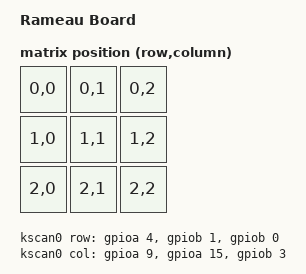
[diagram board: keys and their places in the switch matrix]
/dts-v1/;
#include <st/u0/stm32u073Xc.dtsi>
#include <st/u0/stm32u073cctx-pinctrl.dtsi>
#include <dt-bindings/zmk/matrix_transform.h>

/ {
    model = "Rameau Board";
    compatible = "GK,rameau";

    chosen {
        zephyr,sram = &sram0;
        zephyr,flash = &flash0;
        zmk,kscan = &kscan0;
        zmk,matrix_transform = &default_transform;
        zmk,hall-effect = &hall_effect_config;
        zephyr,console = &usart2;
        zephyr,shell-uart = &usart2;
        zephyr,bt-hci = &bt_hci_uart;
        zephyr,bt-uart = &lpuart3;
    };

    default_transform: keymap_transform_0 {
        compatible = "zmk,matrix-transform";
        columns = <3>;
        rows = <3>;
        map = <
        RC(0,0) RC(0,1) RC(0,2)
        RC(1,0) RC(1,1) RC(1,2)
        RC(2,0) RC(2,1) RC(2,2)
        >;
    };

    kscan0: kscan {
        compatible = "zmk,kscan-gpio-matrix";
        label = "KSCAN";
        diode-direction = "col2row";

        row-gpios
        = <&gpioa 4 (GPIO_ACTIVE_HIGH | GPIO_PULL_DOWN)>  // Row 1 (ADC1_IN8)
        , <&gpiob 1 (GPIO_ACTIVE_HIGH | GPIO_PULL_DOWN)>  // Row 2 (ADC1_IN18)
        , <&gpiob 0 (GPIO_ACTIVE_HIGH | GPIO_PULL_DOWN)>  // Row 3 (ADC1_IN17)
        ;

        col-gpios
        = <&gpioa 9 GPIO_ACTIVE_HIGH>   // Col 1
        , <&gpioa 15 GPIO_ACTIVE_HIGH>  // Col 2
        , <&gpiob 3 GPIO_ACTIVE_HIGH>   // Col 3
        ;
    };

    hall_effect_config: hall_effect {
        compatible = "gk,hall-effect";
        matrix = <&kscan0>;
        startup-time-us = <50>;
        discovery-sample-rate-hz = <100>;
        
        // Map sense pins to ADC channels - sparse array matching matrix indices
        io-channels = <&adc1 8>, <&adc1 18>, <&adc1 17>;
        
        // Pinctrl states: pinctrl-0 is default, pinctrl-N is for sense pin N
        pinctrl-0 = <&pa4_gpio &pb1_gpio &pb0_gpio>;          // Default: all pins in GPIO mode
        pinctrl-1 = <&adc1_in8_pa4 &pb1_gpio &pb0_gpio>;      // Sense pin 0 (PA4) in ADC mode
        pinctrl-2 = <&pa4_gpio &adc1_in18_pb1 &pb0_gpio>;     // Sense pin 1 (PB1) in ADC mode
        pinctrl-3 = <&pa4_gpio &pb1_gpio &adc1_in17_pb0>;     // Sense pin 2 (PB0) in ADC mode
        pinctrl-names = "gpio", "sense1", "sense2", "sense3";
    };

    soc {
        lpuart3: serial@40008c00 {
            compatible = "st,stm32-lpuart", "st,stm32-uart";
            reg = <0x40008c00 0x400>;
            clocks = <&rcc STM32_CLOCK(APB1, 12U)>;
            resets = <&rctl STM32_RESET(APB1L, 12U)>;
            interrupts = <30 0>;
            status = "disabled";
            
            bt_hci_uart: bt_hci_uart {
                compatible = "zephyr,bt-hci-uart";
                status = "okay";
            };
        };
    };
};

// Configure ADC1 with channels for hall effect sensing
&adc1 {

    #address-cells = <1>;
    #size-cells = <0>;
    status = "okay";
    
    st,adc-clock-source = <ASYNC>;  // or <ASYNC>
    st,adc-prescaler = <4>;
    st,adc-sequencer = <NOT_FULLY_CONFIGURABLE>;  // or <FULLY_CONFIGURABLE>
    //st,adc-oversampler = <OVERSAMPLER_NONE>;    // or <OVERSAMPLER_MINIMAL> or <OVERSAMPLER_EXTENDED>
    
    pinctrl-0 = <&adc1_in8_pa4 &adc1_in17_pb0 &adc1_in18_pb1>;
    pinctrl-names = "default";
    
    // PA4 - ADC1_IN8
    channel@8 {
        reg = <8>;
        #io-channel-cells = <1>;
        zephyr,gain = "ADC_GAIN_1";
        zephyr,reference = "ADC_REF_INTERNAL";
        zephyr,acquisition-time = <ADC_ACQ_TIME_DEFAULT>;
        zephyr,resolution = <12>;
    };
    
    // PB0 - ADC1_IN17  
    channel@17 {
        reg = <17>;
        #io-channel-cells = <1>;
        zephyr,gain = "ADC_GAIN_1";
        zephyr,reference = "ADC_REF_INTERNAL";
        zephyr,acquisition-time = <ADC_ACQ_TIME_DEFAULT>;
        zephyr,resolution = <12>;
    };
    
    // PB1 - ADC1_IN18
    channel@18 {
        reg = <18>;
        #io-channel-cells = <1>;
        zephyr,gain = "ADC_GAIN_1";
        zephyr,reference = "ADC_REF_INTERNAL";
        zephyr,acquisition-time = <ADC_ACQ_TIME_DEFAULT>;
        zephyr,resolution = <12>;
    };
    
};

&pinctrl {
    // Default state - PA4 as GPIO with pull-down
    pa4_gpio: pa4-gpio {
        pinmux = <STM32_PINMUX('A', 4, GPIO)>;
        bias-pull-down;
    };
    
    // Default state - PB1 as GPIO with pull-down
    pb1_gpio: pb1-gpio {
        pinmux = <STM32_PINMUX('B', 1, GPIO)>;
        bias-pull-down;
    };
    
    // Default state - PB0 as GPIO with pull-down
    pb0_gpio: pb0-gpio {
        pinmux = <STM32_PINMUX('B', 0, GPIO)>;
        bias-pull-down;
    };
};

&usart2 {
    pinctrl-0 = <&usart2_tx_pa2 &usart2_rx_pa3>;
    pinctrl-names = "default";
    current-speed = <115200>;
    status = "okay";
};

&lpuart3 {
    pinctrl-0 = <&lpuart3_tx_pb6 &lpuart3_rx_pb7 &lpuart3_rts_pb4 &lpuart3_cts_pb5>;
    pinctrl-names = "default";
    current-speed = <115200>;
    hw-flow-control;
    status = "okay";
};

&usb {
    pinctrl-0 = <&usb_dm_pa11 &usb_dp_pa12>;
    pinctrl-names = "default";
    status = "okay";
};

&rcc {
    clock-frequency = <DT_FREQ_M(16)>;
    ahb-prescaler = <1>;
    apb1-prescaler = <1>;
};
